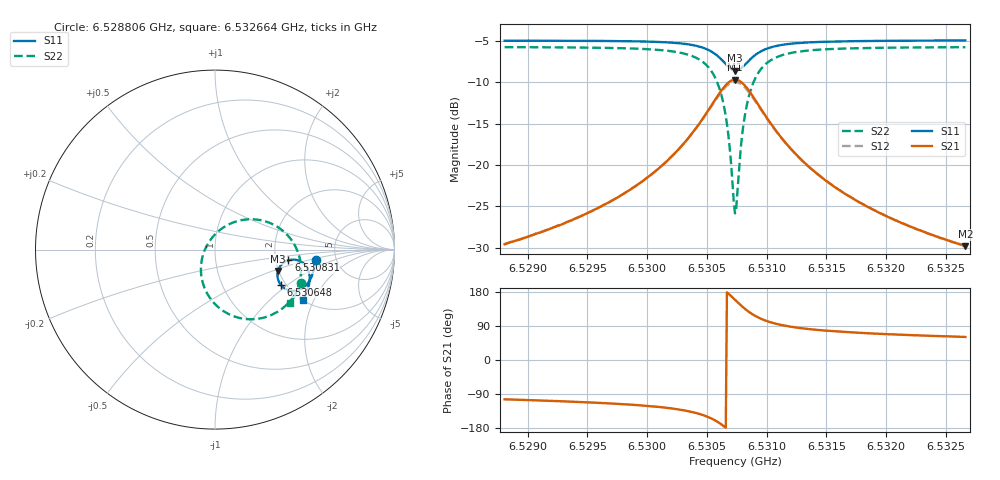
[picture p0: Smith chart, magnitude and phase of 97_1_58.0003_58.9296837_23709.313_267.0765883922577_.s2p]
#  HZ  S  RI  R  50.00
! Rohde & Schwarz Vector Network Analyzer
! Rohde-Schwarz,ZNB20-2Port,1311601062101988,3.16
! Created: UTC 3/21/2024, 12:54:38 AM
! freq[Hz]  re:S11  im:S11  re:S21  im:S21  re:S12  im:S12  re:S22  im:S22
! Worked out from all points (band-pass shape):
!   401 points, 6.528806 GHz to 6.532664 GHz, reference 50 ohm
!   highest |S21| = -9.70 dB at 6.530735 GHz (marker M1); lowest = -29.8 dB at 6.532664 GHz (marker M2)
!   |S21| within 3 dB of the highest: 6.530543 GHz to 6.530929 GHz (386 kHz wide, 0.00591 % of centre)
!   lowest |S11| = -8.6 dB at 6.530735 GHz (marker M3), VSWR 2.18, Z = 99 - j27.5 ohm
!   |S11| at or under -10 dB: nowhere
!   |S22| runs from -25.9 to -5.8 dB; largest |S21 - S12| = 0.014
!   S11 on the Smith chart (normalised r, x): 6.528806 GHz: 3.48, -0.56; 6.530648 GHz: 1.88, -0.88; 6.530831 GHz: 2.35, -0.34; 6.532664 GHz: 2.01, -1.66
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6.5288065e9  0.5607 -0.0553  -0.00793 -0.0321  -0.00867 -0.0322  0.4809 -0.1845
6.5294525e9  0.5512 -0.1104  -0.0176 -0.0461  -0.019 -0.0457  0.4484 -0.2469
6.5297804e9  0.5416 -0.1419  -0.0291 -0.0586  -0.0306 -0.058  0.4185 -0.2869
6.5300986e9  0.5238 -0.1781  -0.0533 -0.0792  -0.0556 -0.0777  0.363 -0.3368
6.5303204e9  0.4963 -0.2087  -0.0952 -0.1004  -0.0986 -0.0969  0.2775 -0.3775
6.5304843e9  0.4508 -0.2287  -0.1679 -0.1081  -0.1706 -0.1008  0.1438 -0.3824
6.5305807e9  0.4032 -0.2234  -0.2423 -0.0806  -0.2414 -0.07  0.0199 -0.3219
6.5306482e9  0.3654 -0.1945  -0.2976 -0.0189  -0.2911 -0.00781  -0.061 -0.2067
6.5306772e9  0.3537 -0.173  -0.3125 0.022  -0.3031 0.0318  -0.0775 -0.1359
6.5307157e9  0.3482 -0.1379  -0.3141 0.0858  -0.3023 0.0917  -0.0675 -0.0313
6.530735e9  0.3511 -0.1197  -0.3055 0.1177  -0.2934 0.1216  -0.0471 0.0194
6.5307447e9  0.354 -0.1109  -0.299 0.133  -0.2865 0.1359  -0.0332 0.0431
6.5307543e9  0.3578 -0.1026  -0.2909 0.1475  -0.2786 0.1492  -0.0171 0.0653
6.5307929e9  0.3802 -0.075  -0.2472 0.1942  -0.2367 0.1923  0.063 0.1333
6.5308315e9  0.4087 -0.0597  -0.1952 0.2194  -0.1877 0.2159  0.1531 0.1652
6.530899e9  0.4548 -0.0578  -0.115 0.2225  -0.1111 0.2189  0.288 0.1549
6.5309954e9  0.4957 -0.0799  -0.0453 0.1902  -0.0436 0.1882  0.4003 0.0842
6.53114e9  0.5201 -0.1163  -0.00316 0.141  -0.00191 0.1403  0.4628 -0.016
6.5313811e9  0.5275 -0.1605  0.0151 0.0924  0.0162 0.0921  0.4794 -0.1178
6.5316704e9  0.5229 -0.1969  0.0186 0.0633  0.0196 0.0631  0.4703 -0.1856
6.5320272e9  0.5128 -0.2313  0.0181 0.0446  0.0189 0.0444  0.4528 -0.2373
6.5326636e9  0.4901 -0.2814  0.0158 0.0281  0.0164 0.028  0.4197 -0.2976
